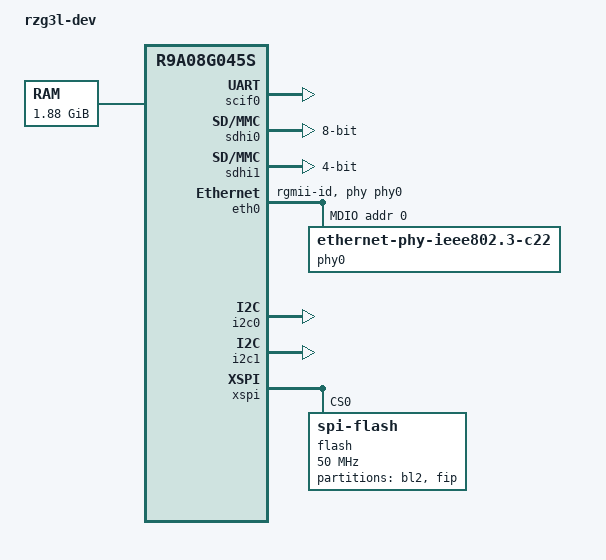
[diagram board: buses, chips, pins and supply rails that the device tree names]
// SPDX-License-Identifier: GPL-2.0
/*
 * Device Tree Source for the RZ/G3S Dev board
 *
 * Copyright (C) 2022 Renesas Electronics
 */

/dts-v1/;
#include <dt-bindings/gpio/gpio.h>
#include "r9a08g046.dtsi"
#include "r9a08g046-u-boot.dtsi"
#include <dt-bindings/pinctrl/rzg2l-pinctrl.h>

/ {
	model = "rzg3l-dev";
	compatible = "renesas,r9a08g045s", "renesas,rzg3s";

	aliases {
		serial0 = &scif0;
		spi0 = &xspi;
	};

	chosen {
		stdout-path = "serial0:115200n8";
	};

	memory@48000000 {
		device_type = "memory";
		/* first 128MB is reserved for secure area. */
		reg = <0 0x48000000 0 0x78000000>;
	};
};

#if 0
&pinctrl {
	eth0_pins: eth0 {
		pinmux = <RZG2L_PINMUX(1, 0, 1)>,
				<RZG2L_PINMUX(1, 1, 1)>,
				<RZG2L_PINMUX(1, 2, 1)>,
				<RZG2L_PINMUX(1, 3, 1)>,
				<RZG2L_PINMUX(1, 4, 1)>,
				<RZG2L_PINMUX(2, 0, 1)>,
				<RZG2L_PINMUX(3, 0, 1)>,
				<RZG2L_PINMUX(3, 1, 1)>,
				<RZG2L_PINMUX(3, 2, 1)>,
				<RZG2L_PINMUX(3, 3, 1)>,
				<RZG2L_PINMUX(4, 0, 1)>,
				<RZG2L_PINMUX(4, 1, 1)>,
				<RZG2L_PINMUX(4, 3, 1)>,
				<RZG2L_PINMUX(4, 4, 1)>,
				<RZG2L_PINMUX(4, 5, 1)>;
	};

	sdhi2_pins: sd2 {
		pinmux = <RZG2L_PINMUX(11, 0, 8)>,	/* SD2_CLK	*/
			 <RZG2L_PINMUX(11, 1, 8)>,	/* SD2_CMD	*/
			 <RZG2L_PINMUX(11, 2, 8)>,	/* SD2_DATA0	*/
			 <RZG2L_PINMUX(11, 3, 8)>,	/* SD2_DATA1	*/
			 <RZG2L_PINMUX(12, 0, 8)>,	/* SD2_DATA2	*/
			 <RZG2L_PINMUX(12, 1, 8)>,	/* SD2_DATA3	*/
			 <RZG2L_PINMUX(14, 1, 7)>;	/* SD2_CD	*/
	};

	usb0_pins: usb0 {
		pinmux = <RZG2L_PINMUX(5, 0, 1)>,	/* VBUS	*/
			 <RZG2L_PINMUX(5, 2, 1)>;	/* OVC	*/
	};

	usb1_pins: usb1 {
		pinmux = <RZG2L_PINMUX(6, 0, 1)>,	/* VBUS	*/
			 <RZG2L_PINMUX(5, 4, 5)>;	/* OVC */
	};
};
#endif	/* 0 */

&xinclk {
	clock-frequency = <24000000>;
};

&scif0 {
	status = "okay";
	clock = <100000000>;
};

&sdhi0 {
	bus-width = <8>;
	status = "okay";
};

&sdhi1 {
	bus-width = <4>;
	status = "okay";
};

#if 0
&sdhi2 {
	pinctrl-names = "default";
	pinctrl-0 = <&sdhi2_pins>;

	bus-width = <4>;
	status = "okay";
};

&eth0 {
	pinctrl-0 = <&eth0_pins>;
	pinctrl-names = "default";
	phy-handle = <&phy0>;
	phy-mode = "rgmii";
	status = "okay";

	phy0: ethernet-phy@7 {
		reg = <7>;
	};
};
#endif	/* 0 */

&eth0 {
	status = "okay";
	phy-handle = <&phy0>;
	phy-mode = "rgmii-id";

	mdio {
		#address-cells = <1>;
		#size-cells = <0>;

		phy0: ethernet-phy@0 {
			compatible = "ethernet-phy-ieee802.3-c22";
			reg = <0>;
			txc-skew-ps = <1700>;
			txen-skew-ps = <(-700)>;
			txd0-skew-ps = <0>;
			txd1-skew-ps = <0>;
			txd2-skew-ps = <0>;
			txd3-skew-ps = <0>;
		};
	};
};

&i2c0 {
	status = "okay";
};

&i2c1 {
	status = "okay";
};

&xspi {
	status = "okay";

	flash@0 {
		compatible = "spi-flash", "jedec,spi-nor";
		reg = <0>;
		m25p,fast-read;
		spi-max-frequency = <50000000>;
		spi-tx-bus-width = <1>;
		spi-rx-bus-width = <1>;

		partitions {
			compatible = "fixed-partitions";
			#address-cells = <1>;
			#size-cells = <1>;

			partition@0 {
				label = "bl2";
				reg = <0x00000000 0x00040000>;
			};

			partition@60000 {
				label = "fip";
				reg = <0x00060000 0x00FA0000>;
			};
		};
	};
};

#if 0
&ehci0 {
	pinctrl-names = "default";
	pinctrl-0 = <&usb0_pins>;
	status = "okay";
};

&ehci1 {
	pinctrl-names = "default";
	pinctrl-0 = <&usb1_pins>;
	status = "okay";
};
#endif	/* 0 */
